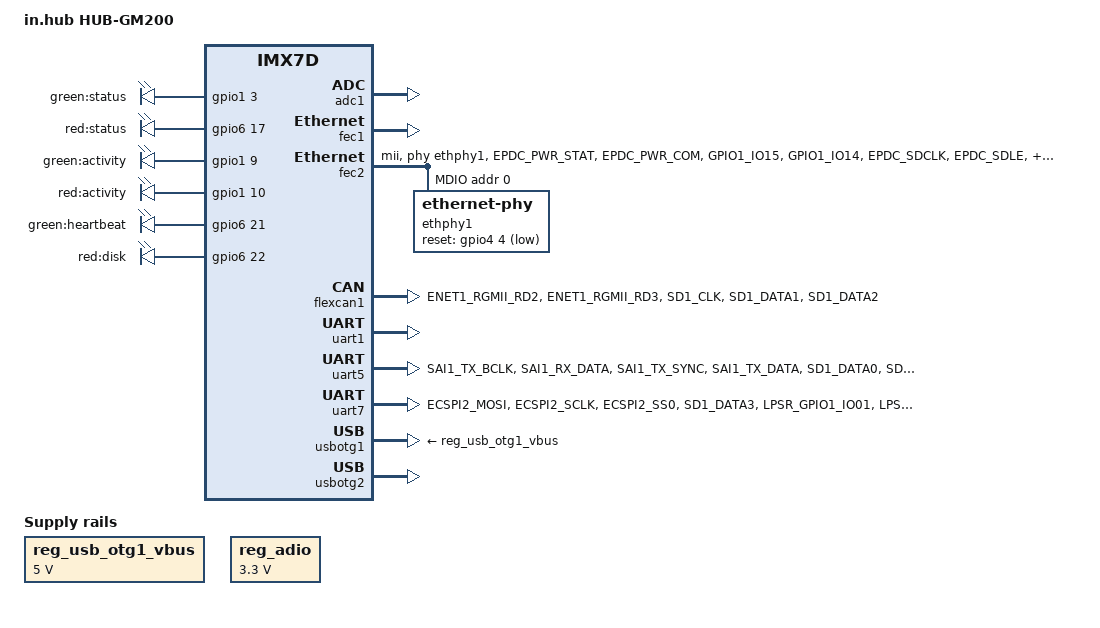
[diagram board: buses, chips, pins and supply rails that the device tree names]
// SPDX-License-Identifier: GPL-2.0-only
/*
 * Copyright 2026 in.hub GmbH
 */

/dts-v1/;
#include "imx7d-colibri-emmc.dtsi"

/delete-node/ &sai1;
/delete-node/ &sai2;
/delete-node/ &sai3;
/delete-node/ &lcdif;
/delete-node/ &pwm1;
/delete-node/ &pwm2;
/delete-node/ &pwm3;
/delete-node/ &pwm4;
/delete-node/ &usdhc1;
/delete-node/ &usdhc2;
/delete-node/ &csi;
/delete-node/ &mipi_csi;

/ {
	model = "in.hub HUB-GM200";
	compatible = "inhub,hub-gm200", "fsl,imx7d";

	/delete-node/ csi-mux;

	aliases {
		/delete-property/ mmc1;
		/delete-property/ mmc2;
		mmc0 = &usdhc3;
	};

	reg_usb_otg1_vbus: regulator-usb-otg1-vbus {
		compatible = "regulator-fixed";
		regulator-name = "usb_otg1_vbus";
		regulator-min-microvolt = <5000000>;
		regulator-max-microvolt = <5000000>;
	};

	reg_adio: regulator-adio {
		compatible = "regulator-fixed";
		regulator-name = "analog-digital-io";
		regulator-min-microvolt = <3300000>;
		regulator-max-microvolt = <3300000>;
		regulator-always-on;
		pinctrl-names = "default";
		pinctrl-0 = <&pinctrl_gpio_io1 &pinctrl_gpio_io2 &pinctrl_gpio_io3 &pinctrl_gpio_io4 &pinctrl_gpio_io5 &pinctrl_gpio_io6>;
	};

	leds {
		compatible = "gpio-leds";
		pinctrl-names = "default";
		pinctrl-0 = <&pinctrl_leds &pinctrl_leds_lpsr>;

		led_green_status: green-status {
			label = "green:status";
			gpios = <&gpio1 3 0x0>;
			default-state = "off";
		};

		led_red_status: red-status {
			label = "red:status";
			gpios = <&gpio6 17 0x0>;
			default-state = "off";
		};

		led_green_activity: green-activity {
			label = "green:activity";
			gpios = <&gpio1 9 0x0>;
			default-state = "off";
		};

		led_red_activity: red-activity {
			label = "red:activity";
			gpios = <&gpio1 10 0x0>;
			default-state = "off";
		};

		led_green_heartbeat: green-heartbeat {
			label = "green:heartbeat";
			gpios = <&gpio6 21 0x0>;
			linux,default-trigger = "timer";
		};

		led_red_disk: red-disk {
			label = "red:disk";
			gpios = <&gpio6 22 0x0>;
			default-state = "off";
			linux,default-trigger = "mmc0";
		};
	};

	/delete-node/ backlight;
	/delete-node/ gpio-keys;
	/delete-node/ panel-dpi;
	/delete-node/ sound;
	/delete-node/ regulator-module-3v3-avdd;
};

&adc1 {
	status = "okay";
};

&fec1 {
	status = "okay";
};

&fec2 {
	pinctrl-names = "default";
	pinctrl-0 = <&pinctrl_enet2>;
	assigned-clocks = <&clks IMX7D_ENET2_TIME_ROOT_SRC>,
			  <&clks IMX7D_ENET2_TIME_ROOT_CLK>;
	assigned-clock-parents = <&clks IMX7D_PLL_ENET_MAIN_100M_CLK>;
	assigned-clock-rates = <0>, <100000000>;
	phy-mode = "mii";
	phy-handle = <&ethphy1>;
	status = "okay";

	mdio {
		#address-cells = <1>;
		#size-cells = <0>;

		ethphy1: ethernet-phy@0 {
			reg = <0>;
			reset-gpios = <&gpio4 4 GPIO_ACTIVE_LOW>;
			reset-assert-us = <2000>;
			reset-deassert-us = <2000>;
		};
	};
};

&gpio1 {
	gpio-line-names =
		"RS485_SUPPLY_STATUS",
		"RS485_SUPPLY_ENABLE",
		"",
		"LED_GREEN_STATUS",
		"",
		"",
		"USB2_OC",
		"USB2_PWR",
		"",
		"LED_GREEN_ACTIVITY",
		"LED_RED_ACTIVITY";
};

&gpio2 {
	gpio-line-names = "",
			  "",
			  "",
			  "",
			  "",
			  "",
			  "",
			  "",
			  "",
			  "",
			  "",
			  "IO4_DIN",
			  "IO4_FLT",
			  "",
			  "IO3_DIN",
			  "",
			  "",
			  "",
			  "",
			  "",
			  "",
			  "",
			  "",
			  "",
			  "",
			  "",
			  "",
			  "IO2_ACUREN";
};

&gpio3 {
	gpio-line-names = "IO5_DIN",
			  "IO6_FLT",
			  "IO1_DIEN",
			  "IO4_DOUT",
			  "",
			  "IO3_FLT",
			  "IO1_DOUT",
			  "IO5_DOUT",
			  "IO5_DIEN",
			  "IO2_AFLT",
			  "IO1_DOEN",
			  "IO4_DIEN",
			  "IO6_DIN",
			  "IO5_DOEN",
			  "IO6_DIEN",
			  "IO1_ACUREN",
			  "IO6_DOUT",
			  "IO6_DOEN",
			  "IO5_FLT",
			  "IO1_DIN",
			  "IO1_FLT",
			  "",
			  "",
			  "IO3_DIEN",
			  "IO3_DOUT",
			  "IO3_DOEN",
			  "IO3_ACUREN",
			  "IO4_DOEN",
			  "IO4_ACUREN";
};

&gpio4 {
	gpio-line-names = "",
			  "",
			  "",
			  "",
			  "",
			  "",
			  "",
			  "",
			  "",
			  "",
			  "",
			  "IO1_AFLT",
			  "",
			  "IO2_FLT",
			  "IO2_DIN",
			  "",
			  "BP_MODULE_DETECTION";
};

&gpio5 {
	gpio-line-names = "",
			  "",
			  "",
			  "CAN_SILENT",
			  "BP_SUPPLY_STATUS",
			  "BP_SUPPLY_ENABLE",
			  "CAN_SUPPLY_ENABLE",
			  "CAN_SUPPLY_STATUS",
			  "",
			  "",
			  "",
			  "IO2_DIEN",
			  "IO4_AFLT",
			  "IO3_AFLT",
			  "",
			  "",
			  "IO2_DOUT",
			  "IO2_DOEN";
};

&gpio6 {
	gpio-line-names = "",
			  "",
			  "",
			  "",
			  "",
			  "",
			  "",
			  "",
			  "",
			  "",
			  "",
			  "",
			  "",
			  "",
			  "",
			  "",
			  "",
			  "LED_RED_STATUS",
			  "",
			  "",
			  "",
			  "LED_GREEN_HEARTBEAT",
			  "LED_RED_DISK";
};

&i2c1 {
	/delete-node/ sgtl5000@a;
	/delete-node/ touchscreen@2c;
};

&iomuxc {
	/delete-property/ pinctrl-names;
	/delete-property/ pinctrl-0;

	/delete-node/ gpio1grp;
	/delete-node/ gpio2grp;
	/delete-node/ gpio3grp;
	/delete-node/ gpio4grp;
	/delete-node/ lcdifdatgrp;
	/delete-node/ lcdifdat24grp;
	/delete-node/ lcdifctrlgrp;
	/delete-node/ pwm1grp;
	/delete-node/ pwm2grp;
	/delete-node/ pwm3grp;
	/delete-node/ pwm4grp;
	/delete-node/ sai1grp;
	/delete-node/ sai1mclkgrp;
	/delete-node/ usdhc1grp;
	/delete-node/ usdhc1-100mhzgrp;
	/delete-node/ usdhc1-200mhzgrp;
	/delete-node/ usdhc1-slpgrp;

	pinctrl_leds: ledsgrp {
		fsl,pins = <
			MX7D_PAD_LPSR_GPIO1_IO03__GPIO1_IO3	0x14 /* SODIMM 22 / LED1G */
			MX7D_PAD_SAI1_RX_BCLK__GPIO6_IO17	0x14 /* SODIMM 24 / LED1R */
			MX7D_PAD_GPIO1_IO09__GPIO1_IO9		0x14 /* SODIMM 28 / LED2G */
			MX7D_PAD_GPIO1_IO10__GPIO1_IO10		0x14 /* SODIMM 30 / LED2R */
			MX7D_PAD_SAI2_RX_DATA__GPIO6_IO21	0x14 /* SODIMM 32 / LED3G */
			MX7D_PAD_SAI2_TX_DATA__GPIO6_IO22   0x14 /* SODIMM 34 / LED3R */
		>;
	};

	pinctrl_backplanebus: bpbgrp {
		fsl,pins = <
			MX7D_PAD_SAI1_TX_BCLK__UART5_DTE_RX		0x79 /* SODIMM 157 / RXBP */
			MX7D_PAD_SAI1_RX_DATA__UART5_DTE_TX		0x79 /* SODIMM 169 / TXBP */
			MX7D_PAD_SAI1_TX_SYNC__UART5_DTE_RTS	0x79 /* SODIMM 163 / RTS */
			MX7D_PAD_SAI1_TX_DATA__UART5_DTE_CTS	0x79 /* SODIMM 81 / CTS */
			MX7D_PAD_SD1_DATA0__GPIO5_IO5			0x14 /* SODIMM 192 / BP_SUPPLY_ENABLE */
			MX7D_PAD_SD1_CMD__GPIO5_IO4				0x34 /* SODIMM 190 / BP_SUPPLY_STATUS */
			MX7D_PAD_ECSPI1_SCLK__GPIO4_IO16		0x14 /* SODIMM 101 / BP_MODULE_DETECTION */
		>;
	};

	pinctrl_rs485: rs485grp {
		fsl,pins = <
			MX7D_PAD_ECSPI2_MOSI__UART7_DTE_RX		0x79 /* SODIMM 59 - RXD7 */
			MX7D_PAD_ECSPI2_SCLK__UART7_DTE_TX		0x79 /* SODIMM 67 - TDX7 */
			MX7D_PAD_ECSPI2_SS0__UART7_DTE_RTS		0x79 /* SODIMM 53 - RTS7 */
			MX7D_PAD_SD1_DATA3__UART7_DTE_CTS		0x79 /* SODIMM 65 - CTS7 */
		>;
	};

	pinctrl_gpio_io1: io1grp {
		fsl,pins = <
			MX7D_PAD_LCD_DATA15__GPIO3_IO20		0x34 /* SODIMM 64 - FLT1 */
			MX7D_PAD_LCD_DATA14__GPIO3_IO19		0x34 /* SODIMM 66 - DIN1 / DOI_LVL */
			MX7D_PAD_LCD_HSYNC__GPIO3_IO2		0x14 /* SODIMM 68 - PDEN1 / DI_EN */
			MX7D_PAD_LCD_DATA01__GPIO3_IO6		0x14 /* SODIMM 70 - DOUT1 / IN */
			MX7D_PAD_LCD_DATA05__GPIO3_IO10		0x14 /* SODIMM 72 - DOEN1 / PP */
			MX7D_PAD_LCD_DATA10__GPIO3_IO15		0x14 /* SODIMM 74 - ACUREN1 / ACUREN */
			MX7D_PAD_I2C2_SDA__GPIO4_IO11		0x34 /* SODIMM 86 - AFLT1 */
		>;
	};

	pinctrl_gpio_io2: io2grp {
		fsl,pins = <
			MX7D_PAD_I2C3_SDA__GPIO4_IO13		0x34 /* SODIMM 94  - FLT2 */
			MX7D_PAD_I2C4_SCL__GPIO4_IO14		0x34 /* SODIMM 96  - DIN2 / DOI_LVL */
			MX7D_PAD_SD2_RESET_B__GPIO5_IO11	0x14 /* SODIMM 98  - PDEN2 / DI_EN */
			MX7D_PAD_SD2_DATA2__GPIO5_IO16		0x14 /* SODIMM 100 - DOUT2 / IN */
			MX7D_PAD_SD2_DATA3__GPIO5_IO17		0x14 /* SODIMM 102 - DOEN2 / PP */
			MX7D_PAD_EPDC_GDSP__GPIO2_IO27		0x14 /* SODIMM 104 - ACUREN2 / ACUREN */
			MX7D_PAD_LCD_DATA04__GPIO3_IO9		0x34 /* SODIMM 78 - AFLT2 */
		>;
	};

	pinctrl_gpio_io3: io3grp {
		fsl,pins = <
			MX7D_PAD_LCD_DATA00__GPIO3_IO5		0x34 /* SODIMM 76 - FLT3 */
			MX7D_PAD_EPDC_DATA14__GPIO2_IO14	0x34 /* SODIMM 126 - DIN3 / DOI_LVL */
			MX7D_PAD_LCD_DATA18__GPIO3_IO23		0x14 /* SODIMM 136 - PDEN3 / DI_EN */
			MX7D_PAD_LCD_DATA19__GPIO3_IO24		0x14 /* SODIMM 138 - DOUT3 / IN */
			MX7D_PAD_LCD_DATA20__GPIO3_IO25		0x14 /* SODIMM 140 - DOEN3 / PP */
			MX7D_PAD_LCD_DATA21__GPIO3_IO26		0x14 /* SODIMM 142 - ACUREN3 / ACUREN */
			MX7D_PAD_SD2_CMD__GPIO5_IO13		0x34 /* SODIMM 186 - AFLT3 */
		>;
	};

	pinctrl_gpio_io4: io4grp {
		fsl,pins = <
			MX7D_PAD_EPDC_DATA12__GPIO2_IO12	0x34 /* SODIMM 150 - FLT4 */
			MX7D_PAD_EPDC_DATA11__GPIO2_IO11	0x34 /* SODIMM 152 - DIN4 / DOI_LVL */
			MX7D_PAD_LCD_DATA06__GPIO3_IO11		0x14 /* SODIMM 80  - PDEN4 / DI_EN */
			MX7D_PAD_LCD_VSYNC__GPIO3_IO3		0x14 /* SODIMM 82  - DOUT4 / IN */
			MX7D_PAD_LCD_DATA22__GPIO3_IO27		0x14 /* SODIMM 144 - DOEN4 / PP */
			MX7D_PAD_LCD_DATA23__GPIO3_IO28		0x14 /* SODIMM 146 - ACUREN4 / ACUREN */
			MX7D_PAD_SD2_CLK__GPIO5_IO12		0x34 /* SODIMM 184 - AFLT4 */
		>;
	};

	pinctrl_gpio_io5: io5grp {
		fsl,pins = <
			MX7D_PAD_LCD_DATA13__GPIO3_IO18		0x34 /* SODIMM 54 - FLT5 */
			MX7D_PAD_LCD_CLK__GPIO3_IO0			0x34 /* SODIMM 56 - DIN5 / DOI_LVL */
			MX7D_PAD_LCD_DATA03__GPIO3_IO8		0x14 /* SODIMM 58 - PDEN5 / DI_EN */
			MX7D_PAD_LCD_DATA02__GPIO3_IO7		0x14 /* SODIMM 60 - DOUT5 / IN */
			MX7D_PAD_LCD_DATA08__GPIO3_IO13		0x14 /* SODIMM 62 - DOEN5 / PP */
		>;
	};

	pinctrl_gpio_io6: io6grp {
		fsl,pins = <
			MX7D_PAD_LCD_ENABLE__GPIO3_IO1		0x34 /* SODIMM 54 - FLT6 */
			MX7D_PAD_LCD_DATA07__GPIO3_IO12		0x34 /* SODIMM 46 - DIN6 / DOI_LVL */
			MX7D_PAD_LCD_DATA09__GPIO3_IO14		0x14 /* SODIMM 48 - PDEN6 / DI_EN */
			MX7D_PAD_LCD_DATA11__GPIO3_IO16		0x14 /* SODIMM 50 - DOUT6 / IN */
			MX7D_PAD_LCD_DATA12__GPIO3_IO17		0x14 /* SODIMM 52 - DOEN6 / PP */
		>;
	};

	pinctrl_enet2: enet2grp {
		fsl,pins = <
			MX7D_PAD_EPDC_PWR_STAT__ENET2_COL			0x11
			MX7D_PAD_EPDC_PWR_COM__ENET2_CRS			0x11
			MX7D_PAD_GPIO1_IO15__ENET2_MDC				0x37
			MX7D_PAD_GPIO1_IO14__ENET2_MDIO				0x37
			MX7D_PAD_EPDC_SDCLK__ENET2_RGMII_RD0		0x11
			MX7D_PAD_EPDC_SDLE__ENET2_RGMII_RD1			0x11
			MX7D_PAD_EPDC_SDOE__ENET2_RGMII_RD2			0x11
			MX7D_PAD_EPDC_SDSHR__ENET2_RGMII_RD3		0x11
			MX7D_PAD_EPDC_BDR1__ENET2_RX_CLK			0x11
			MX7D_PAD_EPDC_SDCE0__ENET2_RGMII_RX_CTL		0x11
			MX7D_PAD_EPDC_SDCE1__ENET2_RX_ER			0x11
			MX7D_PAD_EPDC_SDCE2__ENET2_RGMII_TD0		0x11
			MX7D_PAD_EPDC_SDCE3__ENET2_RGMII_TD1		0x11
			MX7D_PAD_EPDC_GDCLK__ENET2_RGMII_TD2		0x11
			MX7D_PAD_EPDC_GDOE__ENET2_RGMII_TD3			0x11
			MX7D_PAD_EPDC_BDR0__ENET2_TX_CLK			0x11
			MX7D_PAD_EPDC_GDRL__ENET2_RGMII_TX_CTL		0x11
			MX7D_PAD_UART3_RX_DATA__GPIO4_IO4			0x14
		>;
	};

	pinctrl_flexcan1: flexcan1grp {
		fsl,pins = <
			MX7D_PAD_ENET1_RGMII_RD2__FLEXCAN1_RX	0x59	/* SODIMM 63 - CAN/RX */
			MX7D_PAD_ENET1_RGMII_RD3__FLEXCAN1_TX	0x59	/* SODIMM 55 - CAN/TX */
			MX7D_PAD_SD1_CLK__GPIO5_IO3				0x14	/* SODIMM 47 - CAN_SILENT */
			MX7D_PAD_SD1_DATA1__GPIO5_IO6			0x14	/* SODIMM 49 - CAN_SUPPLY_ENABLE */
			MX7D_PAD_SD1_DATA2__GPIO5_IO7			0x34	/* SODIMM 51 - CAN_SUPPLY_STATUS */
		>;
	};
};

&iomuxc_lpsr {
	/delete-property/ pinctrl-names;
	/delete-property/ pinctrl-0;

	/delete-node/ gpiolpsrgrp;
	/delete-node/ gpiokeysgrp;

	pinctrl_leds_lpsr: ledslpsrgrp {
		fsl,pins = <
			MX7D_PAD_LPSR_GPIO1_IO03__GPIO1_IO3	0x14 /* SODIMM 22 / LED1G */
		>;
	};

	pinctrl_rs485_ctl: rs485ctlgrp {
		fsl,pins = <
			MX7D_PAD_LPSR_GPIO1_IO01__GPIO1_IO1		0x14 /* SODIMM 45 / RS485_SUPPLY_ENABLE */
			MX7D_PAD_LPSR_GPIO1_IO00__GPIO1_IO0		0x34 /* SODIMM 43 / RS485_SUPPLY_STATUS */
		>;
	};

	pinctrl_usb_otg2: otg2grp {
		fsl,pins = <
			MX7D_PAD_LPSR_GPIO1_IO06__USB_OTG2_OC	0x7d	/* SODIMM 37 - USB OTG2/OC */
			MX7D_PAD_LPSR_GPIO1_IO07__GPIO1_IO7		0x14	/* SODIMM 29 - USB OTG2/PWR */
		>;
	};
};

&flexcan1 {
	pinctrl-names = "default";
	pinctrl-0 = <&pinctrl_flexcan1>;
	status = "okay";
};

&reg_usbh_vbus {
	pinctrl-names = "default";
	pinctrl-0 = <&pinctrl_usb_otg2>;
	gpio = <&gpio1 7 GPIO_ACTIVE_LOW>;
};

&uart1 {
	status = "okay";
	pinctrl-0 = <&pinctrl_uart1>;
	/delete-node/ uart-has-rtscts;
};

&uart5 {
	pinctrl-names = "default";
	pinctrl-0 = <&pinctrl_backplanebus>;
	linux,rs485-enabled-at-boot-time;
	uart-has-rtscts;
	fsl,dte-mode;
	status = "okay";
};

&uart7 {
	pinctrl-names = "default";
	pinctrl-0 = <&pinctrl_rs485 &pinctrl_rs485_ctl>;
	linux,rs485-enabled-at-boot-time;
	uart-has-rtscts;
	fsl,dte-mode;
	status = "okay";
};

&usbotg1 {
	disable-over-current;
	extcon = <&extcon_usbc_det>;
	vbus-supply = <&reg_usb_otg1_vbus>;
	status = "okay";
};

&usbotg2 {
	status = "okay";
};
